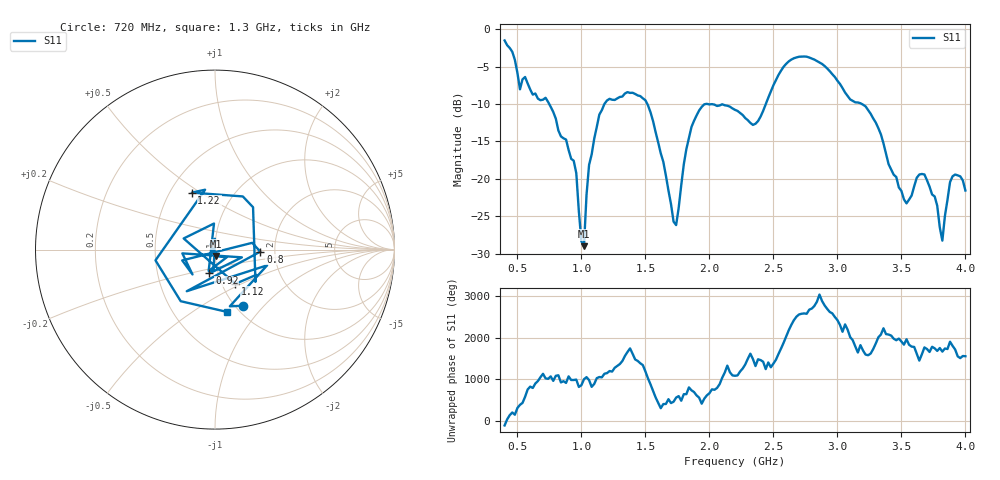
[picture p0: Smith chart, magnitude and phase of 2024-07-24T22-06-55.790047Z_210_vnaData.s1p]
!Created with skrf (http://scikit-rf.org).
# Hz S RI R 50.0
!freq ReS11 ImS11
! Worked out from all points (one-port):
!   181 points, 400 MHz to 4 GHz, reference 50 ohm
!   lowest |S11| = -29.0 dB at 1.02 GHz (marker M1), VSWR 1.07, Z = 50.2 - j3.55 ohm
!   |S11| at or under -10 dB: 1.515 GHz to 1.969 GHz (453.3 MHz wide, 26 % of centre); 1.989 GHz to 2.44 GHz (451.3 MHz wide, 20.4 % of centre); 3.192 GHz to end of sweep (the widest 3 of 4)
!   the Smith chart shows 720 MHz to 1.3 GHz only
!   S11 on the Smith chart (normalised r, x): 720 MHz: 1.08, -0.77; 800 MHz: 1.68, -0.04; 920 MHz: 0.91, -0.25; 1.12 GHz: 1.16, -0.46; 1.22 GHz: 0.64, +0.46; 1.3 GHz: 0.88, -0.70
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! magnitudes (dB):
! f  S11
! 400 MHz  -1.5
! 520 MHz  -8.0
! 720 MHz  -9.2
! 800 MHz  -11.9
! 860 MHz  -14.6
! 920 MHz  -17.3
! 960 MHz  -19.2
! 1 GHz  -28.4
! 1.02 GHz  -29.0
! 1.06 GHz  -18.1
! 1.12 GHz  -13.1
! 1.22 GHz  -9.3
! 1.3 GHz  -9.0
! 1.5 GHz  -9.5
! 1.72 GHz  -25.7
! 1.76 GHz  -23.9
! 1.82 GHz  -16.0
! 1.92 GHz  -10.8
! 2.2 GHz  -10.8
! 2.36 GHz  -12.6
! 2.66 GHz  -3.9
! 3.1 GHz  -9.4
! 3.26 GHz  -11.3
! 3.56 GHz  -22.8
! 3.68 GHz  -19.4
! 3.82 GHz  -28.3
! 3.9 GHz  -19.7
! 4 GHz  -21.6
